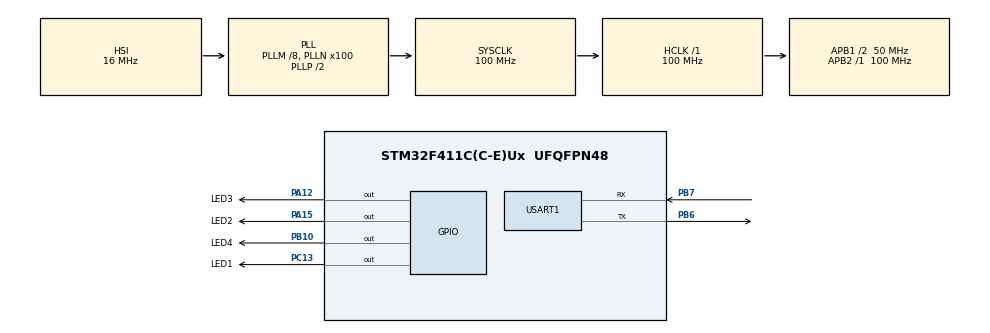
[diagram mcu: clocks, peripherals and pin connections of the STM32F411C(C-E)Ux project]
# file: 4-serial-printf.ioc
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Mcu.Family=STM32F4
Mcu.Name=STM32F411C(C-E)Ux
Mcu.Package=UFQFPN48
NVIC.PriorityGroup=NVIC_PRIORITYGROUP_4
PA12.GPIO_Label=LED3
PA12.PinState=GPIO_PIN_SET
PA12.Signal=GPIO_Output
PA13.Mode=Serial_Wire
PA13.Signal=SYS_JTMS-SWDIO
PA14.Mode=Serial_Wire
PA14.Signal=SYS_JTCK-SWCLK
PA15.GPIO_Label=LED2
PA15.PinState=GPIO_PIN_SET
PA15.Signal=GPIO_Output
PB10.GPIO_Label=LED4
PB10.PinState=GPIO_PIN_SET
PB10.Signal=GPIO_Output
PB6.Mode=Asynchronous
PB6.Signal=USART1_TX
PB7.Mode=Asynchronous
PB7.Signal=USART1_RX
PC13-ANTI_TAMP.GPIO_Label=LED1
PC13-ANTI_TAMP.PinState=GPIO_PIN_SET
PC13-ANTI_TAMP.Signal=GPIO_Output
ProjectManager.HeapSize=0x200
ProjectManager.StackSize=0x400
ProjectManager.TargetToolchain=MDK-ARM V5
RCC.48MHZClocksFreq_Value=50000000
RCC.AHBFreq_Value=100000000
RCC.APB1CLKDivider=RCC_HCLK_DIV2
RCC.APB1Freq_Value=50000000
RCC.APB1TimFreq_Value=100000000
RCC.APB2Freq_Value=100000000
RCC.APB2TimFreq_Value=100000000
RCC.CortexFreq_Value=100000000
RCC.HCLKFreq_Value=100000000
RCC.HSE_VALUE=25000000
RCC.HSI_VALUE=16000000
RCC.LSE_VALUE=32768
RCC.PLLM=8
RCC.PLLN=100
RCC.SYSCLKFreq_VALUE=100000000
RCC.SYSCLKSource=RCC_SYSCLKSOURCE_PLLCLK
RCC.VCOOutputFreq_Value=200000000
USART1.VirtualMode=VM_ASYNC
board=custom

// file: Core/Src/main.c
/* USER CODE BEGIN Header */
/**
  ******************************************************************************
  * @file           : main.c
  * @brief          : Main program body
  ******************************************************************************
  * @attention
  *
  * <h2><center>&copy; Copyright (c) 2019 STMicroelectronics.
  * All rights reserved.</center></h2>
  *
  * This software component is licensed by ST under BSD 3-Clause license,
  * the "License"; You may not use this file except in compliance with the
  * License. You may obtain a copy of the License at:
  *                        opensource.org/licenses/BSD-3-Clause
  *
  ******************************************************************************
  */
/* USER CODE END Header */

#include "main.h"
#include "usart.h"
#include "gpio.h"

/* USER CODE BEGIN Includes */
#include <stdio.h>
#include "led.h"
struct __FILE
{
    int handle;
    /* Whatever you require here. If the only file you are using is */
    /* standard output using printf() for debugging, no file handling */
    /* is required. */
};
/* FILE is typedefТd in stdio.h. */
FILE __stdout;
int fputc(int ch, FILE *f)
{
    /* Your implementation of fputc(). */
    HAL_UART_Transmit(&huart1, (uint8_t*)(&ch), 1, 999);
    return ch;
}
int ferror(FILE *f)
{
    /* Your implementation of ferror(). */
    return 0;
}
void test(void)
{
    printf("Hello world\n");
}
/* USER CODE END Includes */

void SystemClock_Config(void);

int main(void)
{

  /* MCU Configuration--------------------------------------------------------*/

  /* Reset of all peripherals, Initializes the Flash interface and the Systick. */
  HAL_Init();

  /* Configure the system clock */
  SystemClock_Config();

  /* Initialize all configured peripherals */
  MX_GPIO_Init();
  MX_USART1_UART_Init();
  /* USER CODE BEGIN 2 */
    //printf("Start\n");
	//ledLoop(500);

		int cnt = 0;
  /* USER CODE END 2 */

  /* Infinite loop */
    while (1)
    {

    /* USER CODE BEGIN 3 */
        printf("Count:: %d\n", cnt ++);
        HAL_Delay(1000);

        if ( cnt == 1000 )  cnt = 0;
    }
  /* USER CODE END 3 */
}

void SystemClock_Config(void)
{
  RCC_OscInitTypeDef RCC_OscInitStruct = {0};
  RCC_ClkInitTypeDef RCC_ClkInitStruct = {0};

  /** Configure the main internal regulator output voltage
  */
  __HAL_RCC_PWR_CLK_ENABLE();
  __HAL_PWR_VOLTAGESCALING_CONFIG(PWR_REGULATOR_VOLTAGE_SCALE1);
  /** Initializes the CPU, AHB and APB busses clocks
  */
  RCC_OscInitStruct.OscillatorType = RCC_OSCILLATORTYPE_HSI;
  RCC_OscInitStruct.HSIState = RCC_HSI_ON;
  RCC_OscInitStruct.HSICalibrationValue = RCC_HSICALIBRATION_DEFAULT;
  RCC_OscInitStruct.PLL.PLLState = RCC_PLL_ON;
  RCC_OscInitStruct.PLL.PLLSource = RCC_PLLSOURCE_HSI;
  RCC_OscInitStruct.PLL.PLLM = 8;
  RCC_OscInitStruct.PLL.PLLN = 100;
  RCC_OscInitStruct.PLL.PLLP = RCC_PLLP_DIV2;
  RCC_OscInitStruct.PLL.PLLQ = 4;
  if (HAL_RCC_OscConfig(&RCC_OscInitStruct) != HAL_OK)
  {
    Error_Handler();
  }
  /** Initializes the CPU, AHB and APB busses clocks
  */
  RCC_ClkInitStruct.ClockType = RCC_CLOCKTYPE_HCLK|RCC_CLOCKTYPE_SYSCLK
                              |RCC_CLOCKTYPE_PCLK1|RCC_CLOCKTYPE_PCLK2;
  RCC_ClkInitStruct.SYSCLKSource = RCC_SYSCLKSOURCE_PLLCLK;
  RCC_ClkInitStruct.AHBCLKDivider = RCC_SYSCLK_DIV1;
  RCC_ClkInitStruct.APB1CLKDivider = RCC_HCLK_DIV2;
  RCC_ClkInitStruct.APB2CLKDivider = RCC_HCLK_DIV1;

  if (HAL_RCC_ClockConfig(&RCC_ClkInitStruct, FLASH_LATENCY_3) != HAL_OK)
  {
    Error_Handler();
  }
}

void Error_Handler(void)
{
}

/************************ (C) COPYRIGHT STMicroelectronics *****END OF FILE****/
